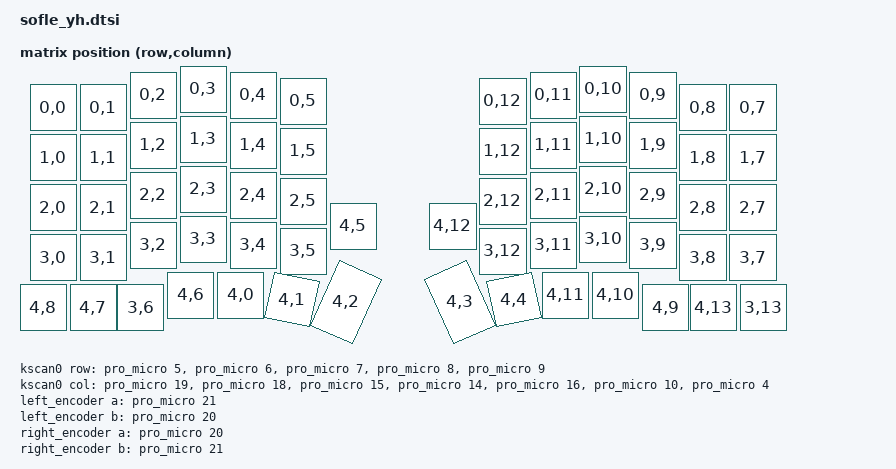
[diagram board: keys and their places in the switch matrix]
/*
 * Copyright (c) 2020 Pete Johanson, Ryan Cross
 *
 * SPDX-License-Identifier: MIT
 */

#include <dt-bindings/zmk/matrix_transform.h>
#include <layouts/josefadamcik/sofle.dtsi>
#include <physical_layouts.dtsi>

&josefadamcik_sofle_layout {
    transform = <&default_transform>;
};

/ {
    chosen {
        zephyr,display = &oled;
        zmk,kscan = &kscan0;
    };

    default_transform: keymap_transform_0 {
        compatible = "zmk,matrix-transform";
        columns = <14>;
        rows = <5>;
// | SW6  | SW5  | SW4  | SW3  | SW2  | SW1  |                 | SW1  | SW2  | SW3  | SW4  | SW5  | SW6  |
// | SW12 | SW11 | SW10 | SW9  | SW8  | SW7  |                 | SW7  | SW8  | SW9  | SW10 | SW11 | SW12 |
// | SW18 | SW17 | SW16 | SW15 | SW14 | SW13 |                 | SW13 | SW14 | SW15 | SW16 | SW17 | SW18 |
// | SW24 | SW23 | SW22 | SW21 | SW20 | SW19 | SW25 |   | SW25 | SW19 | SW20 | SW21 | SW22 | SW23 | SW24 |
// | SW33 | SW32 | SW30 | SW29 | SW28 | SW27 | SW26 |   | SW26 | SW27 | SW28 | SW29 | SW30 | SW32 | SW33 |
        map = <
RC(0,0) RC(0,1) RC(0,2) RC(0,3) RC(0,4) RC(0,5)                      RC(0,12) RC(0,11) RC(0,10)  RC(0,9) RC(0,8)  RC(0,7)
RC(1,0) RC(1,1) RC(1,2) RC(1,3) RC(1,4) RC(1,5)                      RC(1,12) RC(1,11) RC(1,10)  RC(1,9) RC(1,8)  RC(1,7)
RC(2,0) RC(2,1) RC(2,2) RC(2,3) RC(2,4) RC(2,5)                      RC(2,12) RC(2,11) RC(2,10)  RC(2,9) RC(2,8)  RC(2,7)
RC(3,0) RC(3,1) RC(3,2) RC(3,3) RC(3,4) RC(3,5) RC(4,5)     RC(4,12) RC(3,12) RC(3,11) RC(3,10)  RC(3,9) RC(3,8)  RC(3,7)
RC(3,6) RC(4,6) RC(4,0) RC(4,1) RC(4,2) RC(4,3) RC(4,4)     RC(4,11) RC(4,10) RC(4,9)  RC(4,8)   RC(4,7) RC(4,13) RC(3,13)
        >;
    };

    kscan0: kscan {
        compatible = "zmk,kscan-gpio-matrix";
        wakeup-source;

        diode-direction = "col2row";
        row-gpios
            = <&pro_micro 5 (GPIO_ACTIVE_HIGH | GPIO_PULL_DOWN)>
            , <&pro_micro 6 (GPIO_ACTIVE_HIGH | GPIO_PULL_DOWN)>
            , <&pro_micro 7 (GPIO_ACTIVE_HIGH | GPIO_PULL_DOWN)>
            , <&pro_micro 8 (GPIO_ACTIVE_HIGH | GPIO_PULL_DOWN)>
            , <&pro_micro 9 (GPIO_ACTIVE_HIGH | GPIO_PULL_DOWN)>
            ;

        col-gpios
            = <&pro_micro 19 GPIO_ACTIVE_HIGH>
            , <&pro_micro 18 GPIO_ACTIVE_HIGH>
            , <&pro_micro 15 GPIO_ACTIVE_HIGH>
            , <&pro_micro 14 GPIO_ACTIVE_HIGH>
            , <&pro_micro 16 GPIO_ACTIVE_HIGH>
            , <&pro_micro 10 GPIO_ACTIVE_HIGH>
            , <&pro_micro 4 GPIO_ACTIVE_HIGH>
            ;
    };


        keys  //                     w   h    x    y     rot    rx    ry
            = <&key_physical_attrs 100 100   20   37       0     0     0>
            , <&key_physical_attrs 100 100  120   37       0     0     0>
            , <&key_physical_attrs 100 100  220   12       0     0     0>
            , <&key_physical_attrs 100 100  320    0       0     0     0>
            , <&key_physical_attrs 100 100  420   12       0     0     0>
            , <&key_physical_attrs 100 100  520   24       0     0     0>
            , <&key_physical_attrs 100 100  920   24       0     0     0>
            , <&key_physical_attrs 100 100 1020   12       0     0     0>
            , <&key_physical_attrs 100 100 1120    0       0     0     0>
            , <&key_physical_attrs 100 100 1220   12       0     0     0>
            , <&key_physical_attrs 100 100 1320   37       0     0     0>
            , <&key_physical_attrs 100 100 1420   37       0     0     0>
            , <&key_physical_attrs 100 100   20  137       0     0     0>
            , <&key_physical_attrs 100 100  120  137       0     0     0>
            , <&key_physical_attrs 100 100  220  112       0     0     0>
            , <&key_physical_attrs 100 100  320  100       0     0     0>
            , <&key_physical_attrs 100 100  420  112       0     0     0>
            , <&key_physical_attrs 100 100  520  124       0     0     0>
            , <&key_physical_attrs 100 100  920  124       0     0     0>
            , <&key_physical_attrs 100 100 1020  112       0     0     0>
            , <&key_physical_attrs 100 100 1120  100       0     0     0>
            , <&key_physical_attrs 100 100 1220  112       0     0     0>
            , <&key_physical_attrs 100 100 1320  137       0     0     0>
            , <&key_physical_attrs 100 100 1420  137       0     0     0>
            , <&key_physical_attrs 100 100   20  237       0     0     0>
            , <&key_physical_attrs 100 100  120  237       0     0     0>
            , <&key_physical_attrs 100 100  220  212       0     0     0>
            , <&key_physical_attrs 100 100  320  200       0     0     0>
            , <&key_physical_attrs 100 100  420  212       0     0     0>
            , <&key_physical_attrs 100 100  520  224       0     0     0>
            , <&key_physical_attrs 100 100  920  224       0     0     0>
            , <&key_physical_attrs 100 100 1020  212       0     0     0>
            , <&key_physical_attrs 100 100 1120  200       0     0     0>
            , <&key_physical_attrs 100 100 1220  212       0     0     0>
            , <&key_physical_attrs 100 100 1320  237       0     0     0>
            , <&key_physical_attrs 100 100 1420  237       0     0     0>
            , <&key_physical_attrs 100 100   20  337       0     0     0>
            , <&key_physical_attrs 100 100  120  337       0     0     0>
            , <&key_physical_attrs 100 100  220  312       0     0     0>
            , <&key_physical_attrs 100 100  320  300       0     0     0>
            , <&key_physical_attrs 100 100  420  312       0     0     0>
            , <&key_physical_attrs 100 100  520  324       0     0     0>
            , <&key_physical_attrs 100 100  620  274       0     0     0>
            , <&key_physical_attrs 100 100  820  274       0     0     0>
            , <&key_physical_attrs 100 100  920  324       0     0     0>
            , <&key_physical_attrs 100 100 1020  312       0     0     0>
            , <&key_physical_attrs 100 100 1120  300       0     0     0>
            , <&key_physical_attrs 100 100 1220  312       0     0     0>
            , <&key_physical_attrs 100 100 1320  337       0     0     0>
            , <&key_physical_attrs 100 100 1420  337       0     0     0>
            , <&key_physical_attrs 100 100  195  437       0     0     0>
            , <&key_physical_attrs 100 100  295  412       0     0     0>
            , <&key_physical_attrs 100 100  395  412       0     0     0>
            , <&key_physical_attrs 100 100  510  412    1200   510   412>
            , <&key_physical_attrs 100 150  620  383    2400   620   433>
            , <&key_physical_attrs 100 150  820  383 (-2400)   920   433>
            , <&key_physical_attrs 100 100  930  412 (-1200)  1030   412>
            , <&key_physical_attrs 100 100 1045  412       0     0     0>
            , <&key_physical_attrs 100 100 1145  412       0     0     0>
            , <&key_physical_attrs 100 100 1245  437       0     0     0>
            , <&key_physical_attrs 100 100    0  437       0     0     0>
            , <&key_physical_attrs 100 100  100  437       0     0     0>
            , <&key_physical_attrs 100 100 1340  437       0     0     0>
            , <&key_physical_attrs 100 100 1440  437       0     0     0>
            ;



    left_encoder: encoder_left {
        compatible = "alps,ec11";
        a-gpios = <&pro_micro 21 (GPIO_ACTIVE_HIGH | GPIO_PULL_UP)>;
        b-gpios = <&pro_micro 20 (GPIO_ACTIVE_HIGH | GPIO_PULL_UP)>;
        steps = <80>;
        status = "disabled";
    };

    right_encoder: encoder_right {
        compatible = "alps,ec11";
        a-gpios = <&pro_micro 20 (GPIO_ACTIVE_HIGH | GPIO_PULL_UP)>;
        b-gpios = <&pro_micro 21 (GPIO_ACTIVE_HIGH | GPIO_PULL_UP)>;
        steps = <80>;
        status = "disabled";
    };

    sensors: sensors {
        compatible = "zmk,keymap-sensors";
        sensors = <&left_encoder &right_encoder>;
        triggers-per-rotation = <20>;
    };
};

&pro_micro_i2c {
    status = "okay";

    oled: ssd1306@3c {
        compatible = "solomon,ssd1306fb";
        reg = <0x3c>;
        width = <128>;
        height = <32>;
        segment-offset = <0>;
        page-offset = <0>;
        display-offset = <0>;
        multiplex-ratio = <31>;
        segment-remap;
        com-invdir;
        com-sequential;
        inversion-on;
        prechargep = <0x22>;
    };
};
